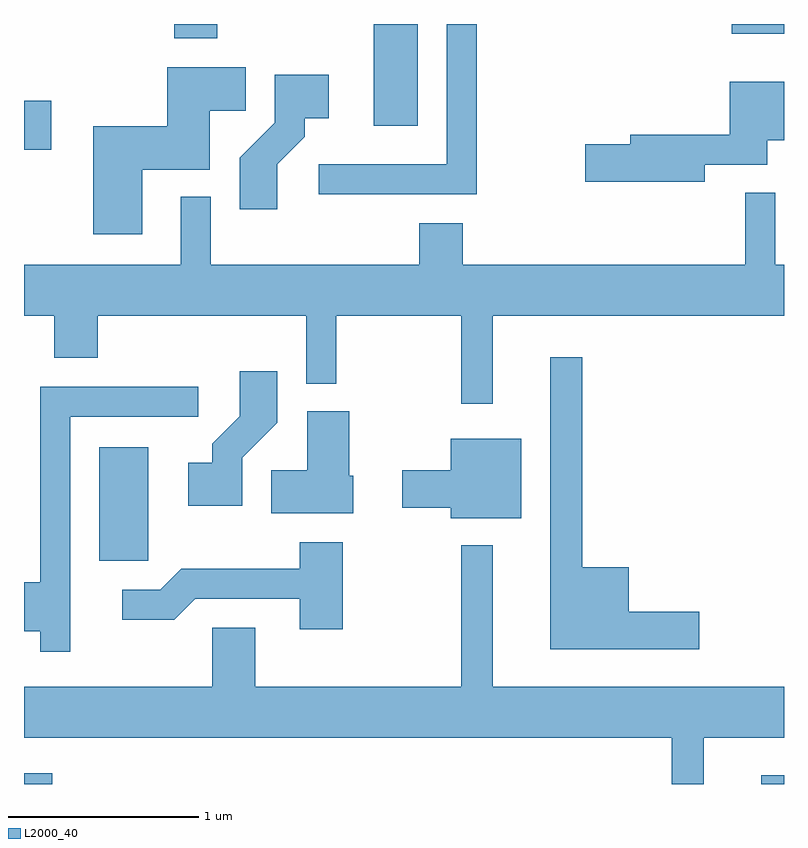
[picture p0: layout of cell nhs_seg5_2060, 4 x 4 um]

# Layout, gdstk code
import gdstk
lib = gdstk.Library(unit=1e-6, precision=1e-09)
def R(c, l, rs):  # rectangles x0, y0, x1, y1
    for r in rs: c.add(gdstk.rectangle(r[:2], r[2:], *l))
def P(c, l, *ps):  # polygons
    for p in ps: c.add(gdstk.Polygon(p, *l))
L2000_40 = (2000, 40)

nhs_seg5_2060 = lib.new_cell('nhs_seg5_2060')
R(nhs_seg5_2060, L2000_40, [(245.611,1492.072,245.759,1492.128), (249.491,1492.072,249.611,1492.119), (246.006,1493.246,246.264,1493.844), (245.611,1495.411,245.754,1495.669), (247.451,1495.536,247.684,1496.072), (246.401,1495.996,246.629,1496.072), (249.336,1496.021,249.611,1496.072)])
P(nhs_seg5_2060, L2000_40, [(247.994,1496.072),(247.836,1496.072),(247.836,1495.334),(247.163,1495.334),(247.163,1495.176),(247.994,1495.176)],
  [(246.234,1495.306),(246.589,1495.306),(246.589,1495.616),(246.779,1495.616),(246.779,1495.844),(246.366,1495.844),(246.366,1495.534),(245.976,1495.534),(245.976,1494.966),(246.234,1494.966)],
  [(246.944,1495.334),(247.089,1495.479),(247.089,1495.576),(247.214,1495.576),(247.214,1495.804),(246.931,1495.804),(246.931,1495.552),(246.746,1495.367),(246.746,1495.096),(246.944,1495.096)],
  [(249.194,1495.331),(249.524,1495.331),(249.524,1495.461),(249.611,1495.461),(249.611,1495.769),(249.326,1495.769),(249.326,1495.489),(248.801,1495.489),(248.801,1495.439),(248.566,1495.439),(248.566,1495.241),(249.194,1495.241)],
  [(248.079,1494.536),(249.611,1494.536),(249.611,1494.804),(249.564,1494.804),(249.564,1495.183),(249.406,1495.183),(249.406,1494.804),(247.919,1494.804),(247.919,1495.024),(247.691,1495.024),(247.691,1494.804),(246.594,1494.804),(246.594,1495.163),(246.436,1495.163),(246.436,1494.804),(245.611,1494.804),(245.611,1494.536),(245.771,1494.536),(245.771,1494.316),(245.999,1494.316),(245.999,1494.536),(247.096,1494.536),(247.096,1494.178),(247.254,1494.178),(247.254,1494.536),(247.911,1494.536),(247.911,1494.073),(248.079,1494.073)],
  [(249.164,1492.979),(248.794,1492.979),(248.794,1493.214),(248.549,1493.214),(248.549,1494.318),(248.381,1494.318),(248.381,1492.781),(249.164,1492.781)],
  [(246.759,1493.789),(246.944,1493.974),(246.944,1494.244),(246.746,1494.244),(246.746,1494.007),(246.601,1493.862),(246.601,1493.764),(246.476,1493.764),(246.476,1493.536),(246.759,1493.536)],
  [(245.854,1494.006),(246.528,1494.006),(246.528,1494.164),(245.696,1494.164),(245.696,1493.134),(245.611,1493.134),(245.611,1492.876),(245.696,1492.876),(245.696,1492.768),(245.854,1492.768)],
  [(247.344,1493.694),(247.324,1493.694),(247.324,1494.034),(247.101,1494.034),(247.101,1493.724),(246.911,1493.724),(246.911,1493.496),(247.344,1493.496)],
  [(248.229,1493.889),(247.856,1493.889),(247.856,1493.724),(247.601,1493.724),(247.601,1493.526),(247.856,1493.526),(247.856,1493.471),(248.229,1493.471)],
  [(247.289,1493.344),(247.061,1493.344),(247.061,1493.204),(246.439,1493.204),(246.329,1493.094),(246.128,1493.094),(246.128,1492.936),(246.402,1492.936),(246.512,1493.046),(247.061,1493.046),(247.061,1492.886),(247.289,1492.886)],
  [(249.189,1492.316),(249.611,1492.316),(249.611,1492.584),(248.079,1492.584),(248.079,1493.328),(247.911,1493.328),(247.911,1492.584),(246.829,1492.584),(246.829,1492.894),(246.601,1492.894),(246.601,1492.584),(245.611,1492.584),(245.611,1492.316),(249.021,1492.316),(249.021,1492.072),(249.189,1492.072)])

lib.write_gds('nhs_seg5_2060.gds')
